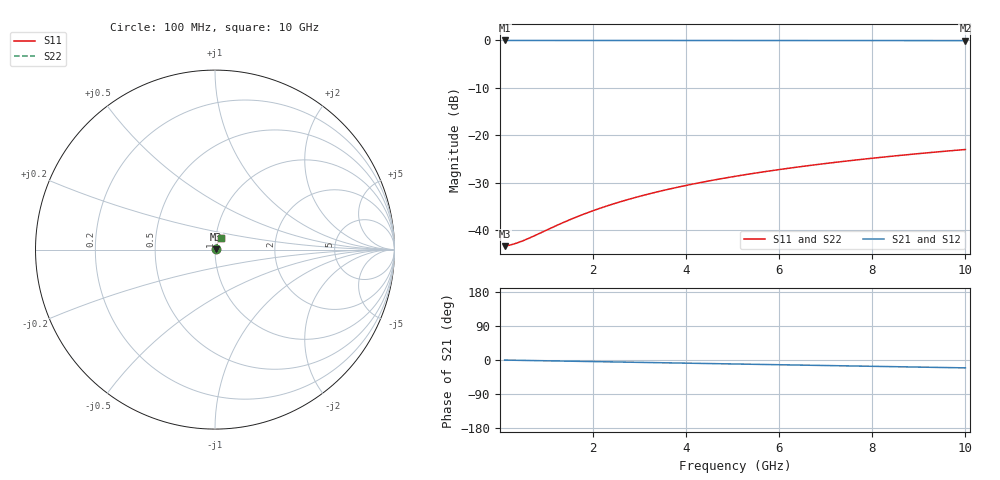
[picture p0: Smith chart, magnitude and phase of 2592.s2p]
# Hz S RI R 50.00
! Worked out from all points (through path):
!   100 points, 100 MHz to 10 GHz, reference 50 ohm
!   highest |S21| = -0.06 dB at 100 MHz (marker M1); lowest = -0.1 dB at 10 GHz (marker M2)
!   group delay of S21, straight-line fit = 5.78 ps
!   lowest |S11| = -43.4 dB at 100 MHz (marker M3), VSWR 1.01, Z = 50.7 + j0.0706 ohm
!   |S11| at or under -10 dB: start of sweep to end of sweep
!   |S22| runs from -43.4 to -23.0 dB; largest |S21 - S12| = 0
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1e8  0.00675 0.000696  0.9932 -0.00361  0.9932 -0.00361  0.00675 0.000696
2e8  0.0068 0.00139  0.9932 -0.00722  0.9932 -0.00722  0.0068 0.00139
3e8  0.00685 0.00209  0.9931 -0.0108  0.9931 -0.0108  0.00685 0.00209
5e8  0.00693 0.00348  0.9929 -0.018  0.9929 -0.018  0.00693 0.00348
7e8  0.00703 0.00487  0.9927 -0.0252  0.9927 -0.0252  0.00703 0.00487
1.3e9  0.00742 0.00903  0.9918 -0.0469  0.9918 -0.0469  0.00742 0.00903
1.6e9  0.00767 0.0111  0.9912 -0.0577  0.9912 -0.0577  0.00767 0.0111
1.8e9  0.00786 0.0125  0.9907 -0.0649  0.9907 -0.0649  0.00786 0.0125
2.2e9  0.0083 0.0152  0.9896 -0.0792  0.9896 -0.0792  0.0083 0.0152
2.6e9  0.00881 0.018  0.9882 -0.0936  0.9882 -0.0936  0.00881 0.018
3e9  0.00941 0.0207  0.9867 -0.1079  0.9867 -0.1079  0.00941 0.0207
3.4e9  0.0101 0.0234  0.9849 -0.1222  0.9849 -0.1222  0.0101 0.0234
3.8e9  0.0108 0.026  0.9829 -0.1365  0.9829 -0.1365  0.0108 0.026
4.2e9  0.0117 0.0287  0.9807 -0.1508  0.9807 -0.1508  0.0117 0.0287
4.6e9  0.0126 0.0313  0.9783 -0.165  0.9783 -0.165  0.0126 0.0313
5.1e9  0.0138 0.0346  0.975 -0.1827  0.975 -0.1827  0.0138 0.0346
5.9e9  0.016 0.0397  0.969 -0.2108  0.969 -0.2108  0.016 0.0397
6.7e9  0.0185 0.0446  0.9622 -0.2388  0.9622 -0.2388  0.0185 0.0446
7.5e9  0.0213 0.0494  0.9546 -0.2665  0.9546 -0.2665  0.0213 0.0494
8.4e9  0.0248 0.0546  0.945 -0.2974  0.945 -0.2974  0.0248 0.0546
9.2e9  0.0281 0.059  0.9356 -0.3246  0.9356 -0.3246  0.0281 0.059
1e10  0.0318 0.0631  0.9254 -0.3514  0.9254 -0.3514  0.0318 0.0631
